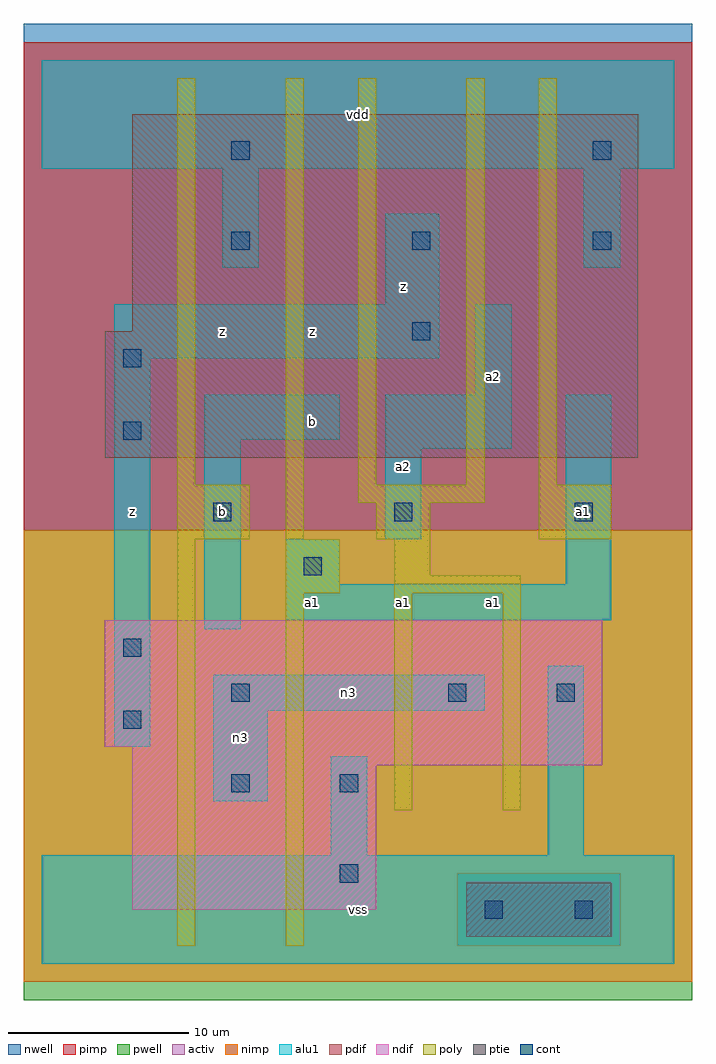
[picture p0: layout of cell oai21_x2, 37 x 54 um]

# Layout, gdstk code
import gdstk
lib = gdstk.Library(unit=1e-6, precision=1e-09)
def R(c, l, rs):  # rectangles x0, y0, x1, y1
    for r in rs: c.add(gdstk.rectangle(r[:2], r[2:], *l))
def A(c, l, x, y, w, h, nx, ny, dx, dy):  # array of equal rectangles
    R(c, l, [(x+i*dx, y+j*dy, x+i*dx+w, y+j*dy+h) for i in range(nx) for j in range(ny)])
ndif = (3, 0)
pdif = (4, 0)
ptie = (6, 0)
cont = (25, 0)
pwell = (41, 0)
nwell = (42, 0)
activ = (43, 0)
pimp = (44, 0)
nimp = (45, 0)
poly = (46, 0)
alu1 = (49, 0)

oai21_x2 = lib.new_cell('oai21_x2')
R(oai21_x2, ndif, [(5,3,18.5,11), (5,11,31,12), (3.5,12,31,19)])
R(oai21_x2, pdif, [(3.5,28,33,35), (5,35,33,47)])
R(oai21_x2, ptie, [(23.5,1.5,31.5,4.5)])
A(oai21_x2, cont, 9.5, 24.5, 1, 1, 3, 1, 10, 0)
A(oai21_x2, cont, 10.5, 39.5, 1, 1, 3, 1, 10, 0)
R(oai21_x2, cont, [(24.5,2.5,25.5,3.5), (29.5,2.5,30.5,3.5), (16.5,4.5,17.5,5.5), (10.5,9.5,11.5,10.5), (16.5,9.5,17.5,10.5), (4.5,13,5.5,14), (10.5,14.5,11.5,15.5), (22.5,14.5,23.5,15.5), (28.5,14.5,29.5,15.5), (4.5,17,5.5,18), (14.5,21.5,15.5,22.5), (4.5,29,5.5,30), (4.5,33,5.5,34), (20.5,34.5,21.5,35.5), (10.5,44.5,11.5,45.5), (30.5,44.5,31.5,45.5)])
R(oai21_x2, pwell, [(-1,-2,36,24)])
R(oai21_x2, nwell, [(-1,24,36,52)])
R(oai21_x2, activ, [(23.5,1.5,31.5,4.5), (5,3,18.5,11), (5,11,31,12), (3.5,12,31,19), (3.5,28,33,35), (5,35,33,47)])
R(oai21_x2, pimp, [(23,1,32,5), (-1,24,36,51)])
R(oai21_x2, nimp, [(-1,-1,36,1), (-1,1,23,5), (32,1,36,5), (-1,5,36,24)])
R(oai21_x2, poly, [(7.5,1,8.5,23.5), (13.5,1,14.5,20.5), (19.5,8.5,20.5,20.5), (25.5,8.5,26.5,20.5), (13.5,20.5,16.5,23.5), (19.5,20.5,26.5,21.5), (19.5,21.5,21.5,23.5), (7.5,23.5,11.5,26.5), (13.5,23.5,14.5,49), (18.5,23.5,21.5,25.5), (27.5,23.5,31.5,26.5), (17.5,25.5,24.5,26.5), (7.5,26.5,8.5,49), (17.5,26.5,18.5,49), (23.5,26.5,24.5,49), (27.5,26.5,28.5,49)])
R(oai21_x2, alu1, [(0,0,35,6), (16,6,18,11.5), (28,6,30,16.5), (9.5,9,12.5,14), (4,12,6,33.5), (9.5,14,24.5,16), (9,18.5,11,29), (13.5,19,31.5,21), (13.5,21,16.5,23.5), (29,21,31.5,31.5), (19,23.5,21,28.5), (19,28.5,26,31.5), (9,29,16.5,31.5), (24,31.5,26,36.5), (4,33.5,22,36.5), (19,36.5,22,41.5), (10,38.5,12,44), (30,38.5,32,44), (0,44,35,50)])
oai21_x2.add(gdstk.Label('n3', (11,12.5), layer=49, texttype=0))
oai21_x2.add(gdstk.Label('z', (5,25), layer=49, texttype=0))
oai21_x2.add(gdstk.Label('b', (10,25), layer=49, texttype=0))
oai21_x2.add(gdstk.Label('z', (10,35), layer=49, texttype=0))
oai21_x2.add(gdstk.Label('vss', (17.5,3), layer=49, texttype=0))
oai21_x2.add(gdstk.Label('a1', (15,20), layer=49, texttype=0))
oai21_x2.add(gdstk.Label('b', (15,30), layer=49, texttype=0))
oai21_x2.add(gdstk.Label('z', (15,35), layer=49, texttype=0))
oai21_x2.add(gdstk.Label('vdd', (17.5,47), layer=49, texttype=0))
oai21_x2.add(gdstk.Label('n3', (17,15), layer=49, texttype=0))
oai21_x2.add(gdstk.Label('a1', (25,20), layer=49, texttype=0))
oai21_x2.add(gdstk.Label('a1', (20,20), layer=49, texttype=0))
oai21_x2.add(gdstk.Label('a2', (20,27.5), layer=49, texttype=0))
oai21_x2.add(gdstk.Label('z', (20,37.5), layer=49, texttype=0))
oai21_x2.add(gdstk.Label('a2', (25,32.5), layer=49, texttype=0))
oai21_x2.add(gdstk.Label('a1', (30,25), layer=49, texttype=0))

lib.write_gds('oai21_x2.gds')
